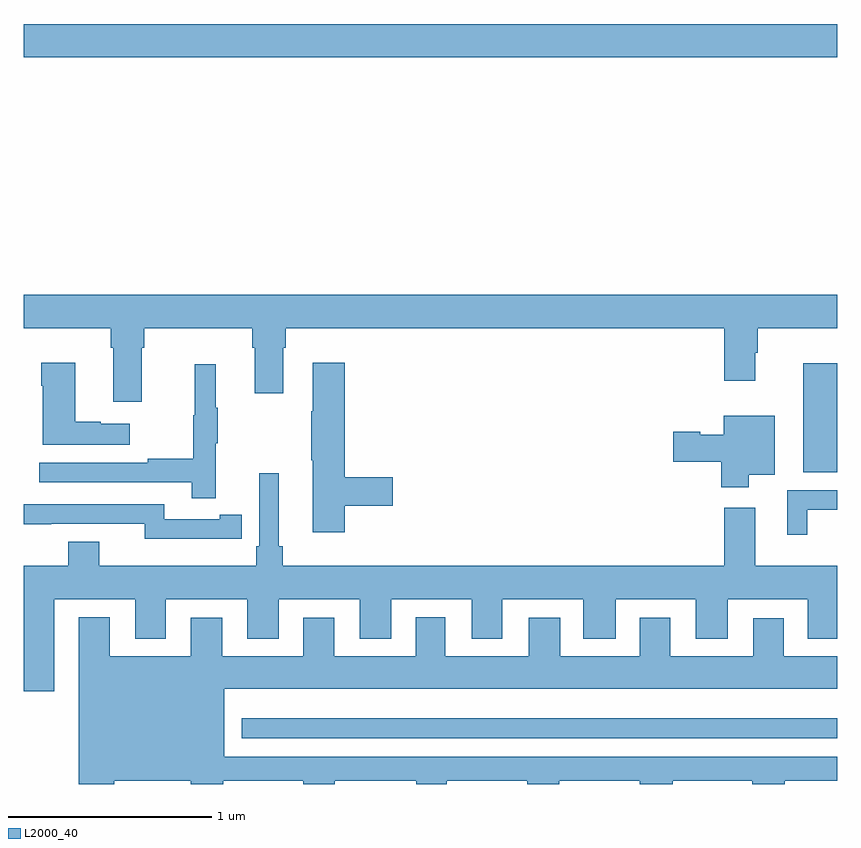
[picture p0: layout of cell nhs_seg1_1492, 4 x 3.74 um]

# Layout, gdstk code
import gdstk
lib = gdstk.Library(unit=1e-6, precision=1e-09)
def R(c, l, rs):  # rectangles x0, y0, x1, y1
    for r in rs: c.add(gdstk.rectangle(r[:2], r[2:], *l))
def P(c, l, *ps):  # polygons
    for p in ps: c.add(gdstk.Polygon(p, *l))
L2000_40 = (2000, 40)

nhs_seg1_1492 = lib.new_cell('nhs_seg1_1492')
R(nhs_seg1_1492, L2000_40, [(194.072,508.425,197,508.522), (196.832,509.732,197,510.268), (193,511.772,197,511.936)])
P(nhs_seg1_1492, L2000_40, [(193.579,510.344),(193.592,510.344),(193.592,510.44),(194.123,510.44),(194.123,510.344),(194.135,510.344),(194.135,510.12),(194.275,510.12),(194.275,510.344),(194.288,510.344),(194.288,510.44),(196.445,510.44),(196.445,510.183),(196.597,510.183),(196.597,510.32),(196.61,510.32),(196.61,510.44),(197,510.44),(197,510.604),(193,510.604),(193,510.44),(193.427,510.44),(193.427,510.344),(193.439,510.344),(193.439,510.078),(193.579,510.078)],
  [(193.522,509.971),(193.379,509.971),(193.379,509.981),(193.252,509.981),(193.252,510.271),(193.087,510.271),(193.087,510.158),(193.094,510.158),(193.094,509.867),(193.522,509.867)],
  [(194.579,509.566),(194.815,509.566),(194.815,509.708),(194.579,509.708),(194.579,510.271),(194.42,510.271),(194.42,510.032),(194.413,510.032),(194.413,509.791),(194.42,509.791),(194.42,509.436),(194.579,509.436)],
  [(193.943,509.875),(193.954,509.875),(193.954,510.049),(193.943,510.049),(193.943,510.262),(193.84,510.262),(193.84,510.012),(193.833,510.012),(193.833,509.798),(193.609,509.798),(193.609,509.778),(193.077,509.778),(193.077,509.682),(193.825,509.682),(193.825,509.604),(193.943,509.604)],
  [(196.564,509.72),(196.693,509.72),(196.693,510.01),(196.442,510.01),(196.442,509.917),(196.326,509.917),(196.326,509.93),(196.194,509.93),(196.194,509.783),(196.43,509.783),(196.43,509.658),(196.564,509.658)],
  [(193.15,509.108),(193.547,509.108),(193.547,508.914),(193.699,508.914),(193.699,509.108),(194.099,509.108),(194.099,508.914),(194.254,508.914),(194.254,509.108),(194.651,509.108),(194.651,508.914),(194.806,508.914),(194.806,509.108),(195.203,509.108),(195.203,508.914),(195.352,508.914),(195.352,509.108),(195.752,509.108),(195.752,508.914),(195.91,508.914),(195.91,509.108),(196.304,509.108),(196.304,508.914),(196.462,508.914),(196.462,509.108),(196.856,509.108),(196.856,508.914),(197,508.914),(197,509.272),(196.597,509.272),(196.597,509.557),(196.445,509.557),(196.445,509.272),(194.273,509.272),(194.273,509.368),(194.254,509.368),(194.254,509.728),(194.157,509.728),(194.157,509.368),(194.144,509.368),(194.144,509.272),(193.372,509.272),(193.372,509.389),(193.22,509.389),(193.22,509.272),(193,509.272),(193,508.656),(193.15,508.656)],
  [(196.852,509.547),(197,509.547),(197,509.643),(196.754,509.643),(196.754,509.424),(196.852,509.424)],
  [(193.964,509.406),(194.072,509.406),(194.072,509.522),(193.964,509.522),(193.964,509.502),(193.692,509.502),(193.692,509.574),(193,509.574),(193,509.477),(193.136,509.477),(193.136,509.478),(193.596,509.478),(193.596,509.405),(193.964,509.405)],
  [(193.444,508.214),(193.82,508.214),(193.82,508.199),(193.981,508.199),(193.981,508.214),(194.375,508.214),(194.375,508.199),(194.53,508.199),(194.53,508.214),(194.93,508.214),(194.93,508.199),(195.079,508.199),(195.079,508.214),(195.476,508.214),(195.476,508.199),(195.634,508.199),(195.634,508.214),(196.028,508.214),(196.028,508.199),(196.192,508.199),(196.192,508.214),(196.583,508.214),(196.583,508.199),(196.741,508.199),(196.741,508.214),(197,508.214),(197,508.333),(193.987,508.333),(193.987,508.667),(197,508.667),(197,508.828),(196.738,508.828),(196.738,509.014),(196.586,509.014),(196.586,508.828),(196.18,508.828),(196.18,509.017),(196.028,509.017),(196.028,508.828),(195.637,508.828),(195.637,509.017),(195.482,509.017),(195.482,508.828),(195.073,508.828),(195.073,509.02),(194.927,509.02),(194.927,508.828),(194.527,508.828),(194.527,509.017),(194.375,509.017),(194.375,508.828),(193.975,508.828),(193.975,509.017),(193.82,509.017),(193.82,508.828),(193.423,508.828),(193.423,509.02),(193.271,509.02),(193.271,508.199),(193.444,508.199)])

lib.write_gds('nhs_seg1_1492.gds')
